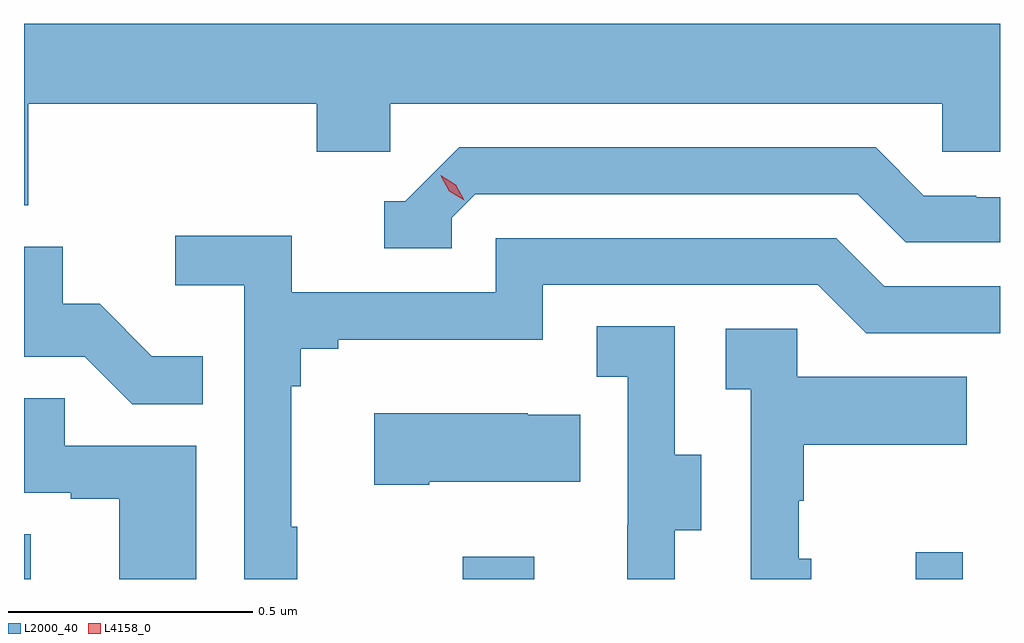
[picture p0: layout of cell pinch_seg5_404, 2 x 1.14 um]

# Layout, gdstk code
import gdstk
lib = gdstk.Library(unit=1e-6, precision=1e-09)
def R(c, l, rs):  # rectangles x0, y0, x1, y1
    for r in rs: c.add(gdstk.rectangle(r[:2], r[2:], *l))
def P(c, l, *ps):  # polygons
    for p in ps: c.add(gdstk.Polygon(p, *l))
L2000_40 = (2000, 40)
L4158_0 = (4158, 0)

pinch_seg5_404 = lib.new_cell('pinch_seg5_404')
R(pinch_seg5_404, L2000_40, [(969.899,867.774,969.913,867.866), (970.798,867.774,970.945,867.82), (971.726,867.774,971.823,867.829)])
P(pinch_seg5_404, L2000_40, [(969.908,868.748),(970.499,868.748),(970.499,868.65),(970.65,868.65),(970.65,868.748),(971.781,868.748),(971.781,868.65),(971.899,868.65),(971.899,868.912),(969.899,868.912),(969.899,868.54),(969.908,868.54)],
  [(970.776,868.515),(970.824,868.563),(971.607,868.563),(971.706,868.464),(971.899,868.464),(971.899,868.557),(971.85,868.557),(971.85,868.56),(971.743,868.56),(971.644,868.659),(970.791,868.659),(970.68,868.548),(970.637,868.548),(970.637,868.452),(970.776,868.452)],
  [(970.459,867.881),(970.447,867.881),(970.447,868.169),(970.466,868.169),(970.466,868.246),(970.543,868.246),(970.543,868.265),(970.962,868.265),(970.962,868.377),(971.526,868.377),(971.625,868.278),(971.899,868.278),(971.899,868.374),(971.662,868.374),(971.563,868.473),(970.866,868.473),(970.866,868.362),(970.448,868.362),(970.448,868.478),(970.209,868.478),(970.209,868.376),(970.35,868.376),(970.35,867.774),(970.459,867.774)],
  [(970.265,868.231),(970.161,868.231),(970.054,868.338),(969.978,868.338),(969.978,868.455),(969.899,868.455),(969.899,868.23),(970.023,868.23),(970.121,868.132),(970.265,868.132)],
  [(971.233,867.874),(971.287,867.874),(971.287,868.029),(971.232,868.029),(971.232,868.292),(971.073,868.292),(971.073,868.189),(971.136,868.189),(971.136,867.885),(971.135,867.885),(971.135,867.774),(971.233,867.774)],
  [(971.512,867.816),(971.487,867.816),(971.487,867.935),(971.497,867.935),(971.497,868.049),(971.831,868.049),(971.831,868.189),(971.484,868.189),(971.484,868.287),(971.337,868.287),(971.337,868.163),(971.388,868.163),(971.388,867.774),(971.512,867.774)],
  [(970.252,868.047),(969.983,868.047),(969.983,868.145),(969.899,868.145),(969.899,867.951),(969.995,867.951),(969.995,867.939),(970.094,867.939),(970.094,867.774),(970.252,867.774)],
  [(970.729,867.974),(971.039,867.974),(971.039,868.111),(970.931,868.111),(970.931,868.114),(970.617,868.114),(970.617,867.967),(970.729,867.967)])
P(pinch_seg5_404, L4158_0, [(970.801,868.55),(970.77,868.569),(970.753,868.601),(970.753,868.602),(970.753,868.602),(970.784,868.582),(970.801,868.55),(970.801,868.55)])

lib.write_gds('pinch_seg5_404.gds')
